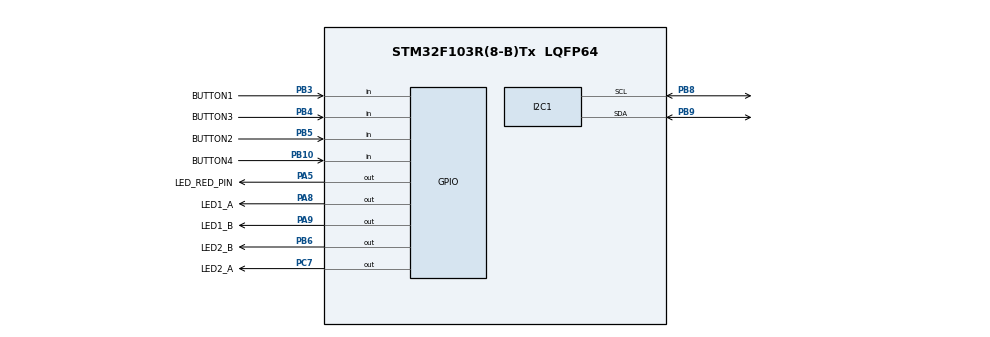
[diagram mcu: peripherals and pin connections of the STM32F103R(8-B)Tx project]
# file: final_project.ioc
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Mcu.Family=STM32F1
Mcu.Name=STM32F103R(8-B)Tx
Mcu.Package=LQFP64
NVIC.PriorityGroup=NVIC_PRIORITYGROUP_4
NVIC.TIM2_IRQn=true\:0\:0\:false\:false\:true\:true\:true
PA13.Mode=Serial_Wire
PA13.Signal=SYS_JTMS-SWDIO
PA14.Mode=Serial_Wire
PA14.Signal=SYS_JTCK-SWCLK
PA5.GPIO_Label=LED_RED_PIN
PA5.Signal=GPIO_Output
PA8.GPIO_Label=LED1_A
PA8.Signal=GPIO_Output
PA9.GPIO_Label=LED1_B
PA9.Signal=GPIO_Output
PB10.GPIO_Label=BUTTON4
PB10.Signal=GPIO_Input
PB3.GPIO_Label=BUTTON1
PB3.Signal=GPIO_Input
PB4.GPIO_Label=BUTTON3
PB4.Signal=GPIO_Input
PB5.GPIO_Label=BUTTON2
PB5.Signal=GPIO_Input
PB6.GPIO_Label=LED2_B
PB6.Signal=GPIO_Output
PB8.Mode=I2C
PB8.Signal=I2C1_SCL
PB9.Mode=I2C
PB9.Signal=I2C1_SDA
PC7.GPIO_Label=LED2_A
PC7.Signal=GPIO_Output
ProjectManager.HeapSize=0x200
ProjectManager.StackSize=0x400
ProjectManager.TargetToolchain=STM32CubeIDE
RCC.APB1Freq_Value=8000000
RCC.APB2Freq_Value=8000000
RCC.SYSCLKSource=RCC_SYSCLKSOURCE_PLLCLK
TIM2.Period=9
TIM2.Prescaler=7999
VP_TIM2_VS_ClockSourceINT.Mode=Internal
board=custom

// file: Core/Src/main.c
/* USER CODE BEGIN Header */
/**
  ******************************************************************************
  * @file           : main.c
  * @brief          : Main program body
  ******************************************************************************
  * @attention
  *
  * <h2><center>&copy; Copyright (c) 2025 STMicroelectronics.
  * All rights reserved.</center></h2>
  *
  * This software component is licensed by ST under BSD 3-Clause license,
  * the "License"; You may not use this file except in compliance with the
  * License. You may obtain a copy of the License at:
  *                        opensource.org/licenses/BSD-3-Clause
  *
  ******************************************************************************
  */
/* USER CODE END Header */
#include "main.h"

/* USER CODE BEGIN Includes */
#include "global.h"
#include "scheduler.h"
#include "i2c_lcd.h"
#include "traffic_lcd.h"
/* USER CODE END Includes */

I2C_HandleTypeDef hi2c1;

TIM_HandleTypeDef htim2;

/* USER CODE BEGIN PV */
int state;
I2C_LCD_HandleTypeDef lcd1;
/* USER CODE END PV */

void SystemClock_Config(void);
static void MX_GPIO_Init(void);
static void MX_TIM2_Init(void);
static void MX_I2C1_Init(void);

int main(void)
{

  /* MCU Configuration--------------------------------------------------------*/

  /* Reset of all peripherals, Initializes the Flash interface and the Systick. */
  HAL_Init();

  /* Configure the system clock */
  SystemClock_Config();

  /* Initialize all configured peripherals */
  MX_GPIO_Init();
  MX_TIM2_Init();
  MX_I2C1_Init();
  /* USER CODE BEGIN 2 */
  HAL_TIM_Base_Start_IT(&htim2);
  SCH_Init();
  lcd1.hi2c = &hi2c1;
  lcd1.address = 0x21<<1;
  lcd_init(&lcd1);
  lcd_clear(&lcd1);

  Traffic_LCD_Init(&lcd1);
  /* USER CODE END 2 */

  /* Infinite loop */
  /* USER CODE BEGIN WHILE */
  SCH_Add_Task(timeCounter, 0, 1);
  SCH_Add_Task(getKeyInput, 0, 1);
  SCH_Add_Task(fsm_run, 0, 1);
  SCH_Add_Task(Traffic_LCD_Display_Task, 0, 10);

  while (1)
  {
	  SCH_Dispatch_Tasks();
    /* USER CODE END WHILE */

  }
}

void SystemClock_Config(void)
{
  RCC_OscInitTypeDef RCC_OscInitStruct = {0};
  RCC_ClkInitTypeDef RCC_ClkInitStruct = {0};

  /** Initializes the RCC Oscillators according to the specified parameters
  * in the RCC_OscInitTypeDef structure.
  */
  RCC_OscInitStruct.OscillatorType = RCC_OSCILLATORTYPE_HSI;
  RCC_OscInitStruct.HSIState = RCC_HSI_ON;
  RCC_OscInitStruct.HSICalibrationValue = RCC_HSICALIBRATION_DEFAULT;
  RCC_OscInitStruct.PLL.PLLState = RCC_PLL_ON;
  RCC_OscInitStruct.PLL.PLLSource = RCC_PLLSOURCE_HSI_DIV2;
  RCC_OscInitStruct.PLL.PLLMUL = RCC_PLL_MUL2;
  if (HAL_RCC_OscConfig(&RCC_OscInitStruct) != HAL_OK)
  {
    Error_Handler();
  }
  /** Initializes the CPU, AHB and APB buses clocks
  */
  RCC_ClkInitStruct.ClockType = RCC_CLOCKTYPE_HCLK|RCC_CLOCKTYPE_SYSCLK
                              |RCC_CLOCKTYPE_PCLK1|RCC_CLOCKTYPE_PCLK2;
  RCC_ClkInitStruct.SYSCLKSource = RCC_SYSCLKSOURCE_PLLCLK;
  RCC_ClkInitStruct.AHBCLKDivider = RCC_SYSCLK_DIV1;
  RCC_ClkInitStruct.APB1CLKDivider = RCC_HCLK_DIV1;
  RCC_ClkInitStruct.APB2CLKDivider = RCC_HCLK_DIV1;

  if (HAL_RCC_ClockConfig(&RCC_ClkInitStruct, FLASH_LATENCY_0) != HAL_OK)
  {
    Error_Handler();
  }
}

static void MX_I2C1_Init(void)
{

  hi2c1.Instance = I2C1;
  hi2c1.Init.ClockSpeed = 100000;
  hi2c1.Init.DutyCycle = I2C_DUTYCYCLE_2;
  hi2c1.Init.OwnAddress1 = 0;
  hi2c1.Init.AddressingMode = I2C_ADDRESSINGMODE_7BIT;
  hi2c1.Init.DualAddressMode = I2C_DUALADDRESS_DISABLE;
  hi2c1.Init.OwnAddress2 = 0;
  hi2c1.Init.GeneralCallMode = I2C_GENERALCALL_DISABLE;
  hi2c1.Init.NoStretchMode = I2C_NOSTRETCH_DISABLE;
  if (HAL_I2C_Init(&hi2c1) != HAL_OK)
  {
    Error_Handler();
  }

}

static void MX_TIM2_Init(void)
{

  TIM_ClockConfigTypeDef sClockSourceConfig = {0};
  TIM_MasterConfigTypeDef sMasterConfig = {0};

  htim2.Instance = TIM2;
  htim2.Init.Prescaler = 7999;
  htim2.Init.CounterMode = TIM_COUNTERMODE_UP;
  htim2.Init.Period = 9;
  htim2.Init.ClockDivision = TIM_CLOCKDIVISION_DIV1;
  htim2.Init.AutoReloadPreload = TIM_AUTORELOAD_PRELOAD_DISABLE;
  if (HAL_TIM_Base_Init(&htim2) != HAL_OK)
  {
    Error_Handler();
  }
  sClockSourceConfig.ClockSource = TIM_CLOCKSOURCE_INTERNAL;
  if (HAL_TIM_ConfigClockSource(&htim2, &sClockSourceConfig) != HAL_OK)
  {
    Error_Handler();
  }
  sMasterConfig.MasterOutputTrigger = TIM_TRGO_RESET;
  sMasterConfig.MasterSlaveMode = TIM_MASTERSLAVEMODE_DISABLE;
  if (HAL_TIMEx_MasterConfigSynchronization(&htim2, &sMasterConfig) != HAL_OK)
  {
    Error_Handler();
  }

}

static void MX_GPIO_Init(void)
{
  GPIO_InitTypeDef GPIO_InitStruct = {0};

  /* GPIO Ports Clock Enable */
  __HAL_RCC_GPIOA_CLK_ENABLE();
  __HAL_RCC_GPIOB_CLK_ENABLE();
  __HAL_RCC_GPIOC_CLK_ENABLE();

  /*Configure GPIO pin Output Level */
  HAL_GPIO_WritePin(GPIOA, LED_RED_PIN_Pin|LED1_A_Pin|LED1_B_Pin, GPIO_PIN_RESET);

  /*Configure GPIO pin Output Level */
  HAL_GPIO_WritePin(LED2_A_GPIO_Port, LED2_A_Pin, GPIO_PIN_RESET);

  /*Configure GPIO pin Output Level */
  HAL_GPIO_WritePin(LED2_B_GPIO_Port, LED2_B_Pin, GPIO_PIN_RESET);

  /*Configure GPIO pins : LED_RED_PIN_Pin LED1_A_Pin LED1_B_Pin */
  GPIO_InitStruct.Pin = LED_RED_PIN_Pin|LED1_A_Pin|LED1_B_Pin;
  GPIO_InitStruct.Mode = GPIO_MODE_OUTPUT_PP;
  GPIO_InitStruct.Pull = GPIO_NOPULL;
  GPIO_InitStruct.Speed = GPIO_SPEED_FREQ_LOW;
  HAL_GPIO_Init(GPIOA, &GPIO_InitStruct);

  /*Configure GPIO pins : BUTTON4_Pin BUTTON1_Pin BUTTON3_Pin BUTTON2_Pin */
  GPIO_InitStruct.Pin = BUTTON4_Pin|BUTTON1_Pin|BUTTON3_Pin|BUTTON2_Pin;
  GPIO_InitStruct.Mode = GPIO_MODE_INPUT;
  GPIO_InitStruct.Pull = GPIO_NOPULL;
  HAL_GPIO_Init(GPIOB, &GPIO_InitStruct);

  /*Configure GPIO pin : LED2_A_Pin */
  GPIO_InitStruct.Pin = LED2_A_Pin;
  GPIO_InitStruct.Mode = GPIO_MODE_OUTPUT_PP;
  GPIO_InitStruct.Pull = GPIO_NOPULL;
  GPIO_InitStruct.Speed = GPIO_SPEED_FREQ_LOW;
  HAL_GPIO_Init(LED2_A_GPIO_Port, &GPIO_InitStruct);

  /*Configure GPIO pin : LED2_B_Pin */
  GPIO_InitStruct.Pin = LED2_B_Pin;
  GPIO_InitStruct.Mode = GPIO_MODE_OUTPUT_PP;
  GPIO_InitStruct.Pull = GPIO_NOPULL;
  GPIO_InitStruct.Speed = GPIO_SPEED_FREQ_LOW;
  HAL_GPIO_Init(LED2_B_GPIO_Port, &GPIO_InitStruct);

}

/* USER CODE BEGIN 4 */
void HAL_TIM_PeriodElapsedCallback(TIM_HandleTypeDef *htim){
	SCH_Update();
}
/* USER CODE END 4 */

void Error_Handler(void)
{
  __disable_irq();
  while (1)
  {
  }
}

/************************ (C) COPYRIGHT STMicroelectronics *****END OF FILE****/
